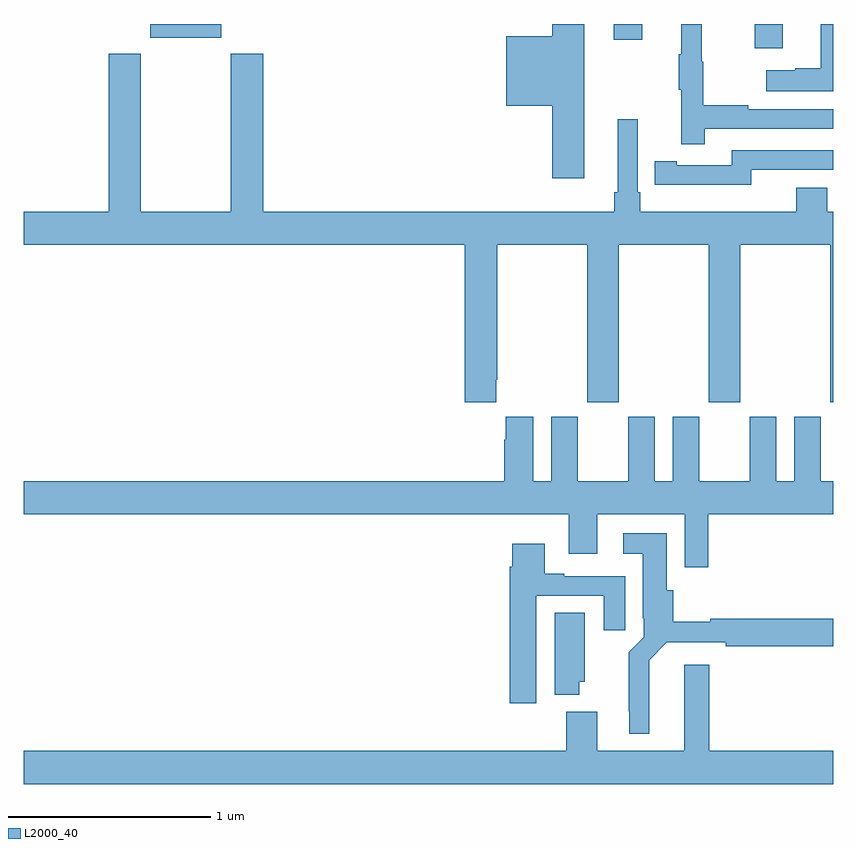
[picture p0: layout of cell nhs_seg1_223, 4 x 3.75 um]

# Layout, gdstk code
import gdstk
lib = gdstk.Library(unit=1e-6, precision=1e-09)
def R(c, l, rs):  # rectangles x0, y0, x1, y1
    for r in rs: c.add(gdstk.rectangle(r[:2], r[2:], *l))
def P(c, l, *ps):  # polygons
    for p in ps: c.add(gdstk.Polygon(p, *l))
L2000_40 = (2000, 40)

nhs_seg1_223 = lib.new_cell('nhs_seg1_223')
R(nhs_seg1_223, L2000_40, [(126.611,510.078,126.751,510.199), (125.915,510.12,126.055,510.199), (123.626,510.131,123.976,510.199)])
P(nhs_seg1_223, L2000_40, [(127,510.199),(126.938,510.199),(126.938,509.981),(126.812,509.981),(126.812,509.971),(126.669,509.971),(126.669,509.867),(127,509.867)],
  [(125.77,510.199),(125.612,510.199),(125.612,510.139),(125.384,510.139),(125.384,509.795),(125.612,509.795),(125.612,509.436),(125.77,509.436)],
  [(126.365,509.682),(127,509.682),(127,509.778),(126.581,509.778),(126.581,509.798),(126.358,509.798),(126.358,510.012),(126.35,510.012),(126.35,510.199),(126.248,510.199),(126.248,510.049),(126.237,510.049),(126.237,509.875),(126.248,509.875),(126.248,509.604),(126.365,509.604)],
  [(125.335,508.441),(125.34,508.441),(125.34,509.108),(125.785,509.108),(125.785,508.329),(125.94,508.329),(125.94,509.108),(126.385,509.108),(126.385,508.329),(126.54,508.329),(126.54,509.108),(126.985,509.108),(126.985,508.329),(127,508.329),(127,509.272),(126.971,509.272),(126.971,509.389),(126.818,509.389),(126.818,509.272),(126.047,509.272),(126.047,509.368),(126.033,509.368),(126.033,509.728),(125.936,509.728),(125.936,509.368),(125.917,509.368),(125.917,509.272),(124.184,509.272),(124.184,510.052),(124.024,510.052),(124.024,509.272),(123.579,509.272),(123.579,510.052),(123.419,510.052),(123.419,509.272),(123,509.272),(123,509.108),(125.18,509.108),(125.18,508.329),(125.335,508.329)],
  [(126.594,509.478),(127,509.478),(127,509.574),(126.498,509.574),(126.498,509.502),(126.226,509.502),(126.226,509.522),(126.118,509.522),(126.118,509.406),(126.226,509.406),(126.226,509.405),(126.594,509.405)],
  [(126.383,507.776),(127,507.776),(127,507.94),(126.937,507.94),(126.937,508.258),(126.806,508.258),(126.806,507.94),(126.718,507.94),(126.718,508.258),(126.587,508.258),(126.587,507.94),(126.337,507.94),(126.337,508.258),(126.206,508.258),(126.206,507.94),(126.118,507.94),(126.118,508.258),(125.987,508.258),(125.987,507.94),(125.737,507.94),(125.737,508.258),(125.606,508.258),(125.606,507.94),(125.518,507.94),(125.518,508.258),(125.381,508.258),(125.381,508.145),(125.375,508.145),(125.375,507.94),(123,507.94),(123,507.776),(125.693,507.776),(125.693,507.582),(125.833,507.582),(125.833,507.776),(126.267,507.776),(126.267,507.516),(126.383,507.516)],
  [(126.091,507.056),(126.178,507.144),(126.469,507.144),(126.469,507.124),(127,507.124),(127,507.26),(126.392,507.26),(126.392,507.245),(126.209,507.245),(126.209,507.402),(126.178,507.402),(126.178,507.682),(125.961,507.682),(125.961,507.581),(126.059,507.581),(126.059,507.262),(126.063,507.262),(126.063,507.168),(125.989,507.094),(125.989,506.803),(125.993,506.803),(125.993,506.693),(126.091,506.693)],
  [(125.533,507.375),(125.867,507.375),(125.867,507.204),(125.971,507.204),(125.971,507.471),(125.671,507.471),(125.671,507.484),(125.575,507.484),(125.575,507.631),(125.414,507.631),(125.414,507.518),(125.402,507.518),(125.402,506.844),(125.533,506.844)],
  [(125.746,506.949),(125.773,506.949),(125.773,507.29),(125.624,507.29),(125.624,506.885),(125.746,506.885)],
  [(127,506.608),(126.386,506.608),(126.386,507.034),(126.263,507.034),(126.263,506.608),(125.833,506.608),(125.833,506.8),(125.681,506.8),(125.681,506.608),(123,506.608),(123,506.444),(127,506.444)])

lib.write_gds('nhs_seg1_223.gds')
